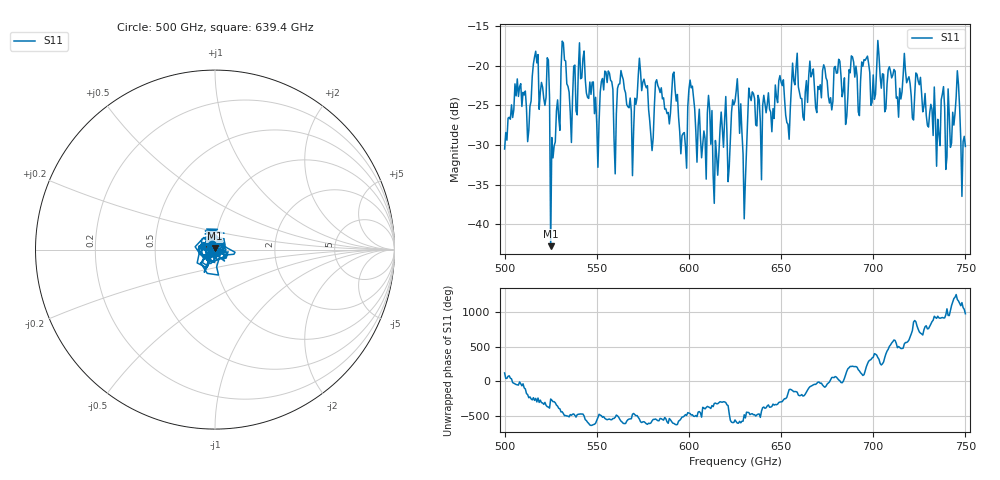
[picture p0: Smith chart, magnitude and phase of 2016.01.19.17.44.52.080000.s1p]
!Created with skrf (http://scikit-rf.org).
# GHz S RI R 50.0
!freq ReS11 ImS11
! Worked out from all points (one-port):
!   401 points, 500 GHz to 750 GHz, reference 50 ohm
!   lowest |S11| = -42.7 dB at 525 GHz (marker M1), VSWR 1.01, Z = 49.8 + j0.708 ohm
!   |S11| at or under -10 dB: start of sweep to end of sweep
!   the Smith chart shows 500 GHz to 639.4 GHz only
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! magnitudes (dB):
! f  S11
! 500 GHz  -30.5
! 506.9 GHz  -21.7
! 513.1 GHz  -28.1
! 516.9 GHz  -18.2
! 523.1 GHz  -19.0
! 525 GHz  -42.7
! 526.2 GHz  -31.6
! 531.2 GHz  -16.9
! 535.6 GHz  -25.9
! 541.9 GHz  -21.5
! 550 GHz  -27.3
! 562.5 GHz  -22.3
! 568.8 GHz  -25.7
! 573.8 GHz  -20.7
! 579.4 GHz  -28.8
! 583.1 GHz  -22.5
! 593.8 GHz  -23.6
! 611.2 GHz  -25.4
! 614.4 GHz  -29.4
! 625 GHz  -24.5
! 630 GHz  -39.3
! 633.8 GHz  -24.4
! 656.2 GHz  -19.7
! 687.5 GHz  -20.9
! 718.8 GHz  -21.7
! 735 GHz  -26.7
! 745.6 GHz  -20.6
! 750 GHz  -30.2
